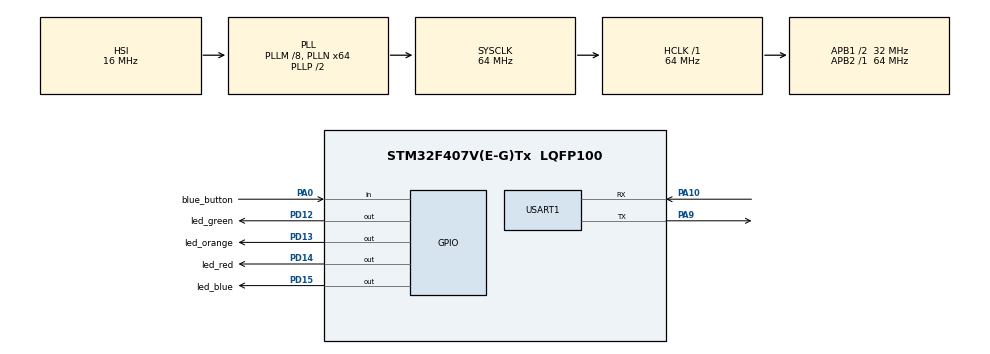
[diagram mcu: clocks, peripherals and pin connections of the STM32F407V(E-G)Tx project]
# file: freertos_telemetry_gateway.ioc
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Mcu.Family=STM32F4
Mcu.Name=STM32F407V(E-G)Tx
Mcu.Package=LQFP100
NVIC.PriorityGroup=NVIC_PRIORITYGROUP_4
NVIC.TIM1_UP_TIM10_IRQn=true\:15\:0\:false\:false\:true\:false\:true\:true
NVIC.TimeBase=TIM1_UP_TIM10_IRQn
NVIC.TimeBaseIP=TIM1
PA0-WKUP.GPIO_Label=blue_button
PA0-WKUP.Signal=GPIO_Input
PA10.Mode=Asynchronous
PA10.Signal=USART1_RX
PA13.Mode=Serial_Wire
PA13.Signal=SYS_JTMS-SWDIO
PA14.Mode=Serial_Wire
PA14.Signal=SYS_JTCK-SWCLK
PA9.Mode=Asynchronous
PA9.Signal=USART1_TX
PD12.GPIO_Label=led_green
PD12.Signal=GPIO_Output
PD13.GPIO_Label=led_orange
PD13.Signal=GPIO_Output
PD14.GPIO_Label=led_red
PD14.Signal=GPIO_Output
PD15.GPIO_Label=led_blue
PD15.Signal=GPIO_Output
ProjectManager.HeapSize=0x200
ProjectManager.StackSize=0x400
ProjectManager.TargetToolchain=STM32CubeIDE
RCC.48MHZClocksFreq_Value=32000000
RCC.AHBFreq_Value=64000000
RCC.APB1CLKDivider=RCC_HCLK_DIV2
RCC.APB1Freq_Value=32000000
RCC.APB1TimFreq_Value=64000000
RCC.APB2Freq_Value=64000000
RCC.APB2TimFreq_Value=64000000
RCC.CortexFreq_Value=64000000
RCC.HCLKFreq_Value=64000000
RCC.HSE_VALUE=25000000
RCC.HSI_VALUE=16000000
RCC.LSE_VALUE=32768
RCC.PLLM=8
RCC.PLLN=64
RCC.SYSCLKFreq_VALUE=64000000
RCC.SYSCLKSource=RCC_SYSCLKSOURCE_PLLCLK
RCC.VCOOutputFreq_Value=128000000
USART1.VirtualMode=VM_ASYNC
VP_RNG_VS_RNG.Mode=RNG_Activate
VP_SYS_VS_tim1.Mode=TIM1
board=custom

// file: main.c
/* USER CODE BEGIN Header */
/**
  ******************************************************************************
  * @file           : main.c
  * @brief          : Main program body
  ******************************************************************************
  * @attention
  *
  * Copyright (c) 2026 STMicroelectronics.
  * All rights reserved.
  *
  * This software is licensed under terms that can be found in the LICENSE file
  * in the root directory of this software component.
  * If no LICENSE file comes with this software, it is provided AS-IS.
  *
  ******************************************************************************
  */
/* USER CODE END Header */
#include "main.h"

/* USER CODE BEGIN Includes */
#include "FreeRTOS.h"
#include "task.h"
#include "queue.h"
#include "stdio.h"
#include "string.h"
/* USER CODE END Includes */

RNG_HandleTypeDef hrng;

UART_HandleTypeDef huart1;

void SystemClock_Config(void);
static void MX_GPIO_Init(void);
static void MX_USART1_UART_Init(void);
static void MX_RNG_Init(void);

static void vTaskBatterySender(void * pvParameters);
static void vTaskMotorSender(void * pvParameters);
static void vTaskErrorSender(void * pvParameter);
static void vTaskReceiver(void * pvParameters);
/* USER CODE BEGIN PFP */
typedef struct {
	double voltage;
}battery;

typedef struct {
	uint16_t rpm;
	double heat;
}motor;

typedef struct {
	char error[16]; //unknown error
}error;

QueueHandle_t xQueue1=NULL;
QueueHandle_t xQueue2=NULL;
QueueHandle_t xQueue3=NULL;
QueueSetHandle_t xQueueSet=NULL;

battery xBattery;
motor xMotor;
error xError;
/* USER CODE END PFP */

/* USER CODE BEGIN 0 */

static void vTaskBatterySender(void * pvParameters){
	BaseType_t xStatus;
	const TickType_t xTickToWait = pdMS_TO_TICKS(1000);
	battery* myBattery = (battery*) pvParameters;
	uint32_t random;
	for(;;){
		HAL_RNG_GenerateRandomNumber(&hrng, &random);
		myBattery->voltage = 11.4 + ((double)(random%121)/100);
		xStatus = xQueueSendToBack(xQueue1, &myBattery, 0);
		if(xStatus!=pdPASS){
			HAL_UART_Transmit(&huart1, (uint8_t * )"Cannot write to queue\r\n", 23, 0xFFFF);
		}else{
			HAL_GPIO_TogglePin(GPIOD, GPIO_PIN_12);
		}
		vTaskDelay(xTickToWait);
	}
}

static void vTaskMotorSender(void * pvParameters){
	BaseType_t xStatus;
	const TickType_t xTickToWait = pdMS_TO_TICKS(500);
	motor* myMotor = (motor*) pvParameters;
	uint32_t random;
	for(;;){
		HAL_RNG_GenerateRandomNumber(&hrng, &random);
		myMotor->heat = 80.0 + (double)(random%41);
		HAL_RNG_GenerateRandomNumber(&hrng, &random);
		myMotor->rpm = (random%100) + 7000;
		xStatus = xQueueSendToBack(xQueue2, &myMotor, 0);
		if(xStatus!=pdPASS){
			HAL_UART_Transmit(&huart1, (uint8_t * )"Cannot write to queue\r\n", 23, 0xFFFF);
		}else{
			HAL_GPIO_TogglePin(GPIOD, GPIO_PIN_13);
		}
		vTaskDelay(xTickToWait);
	}
}

static void vTaskErrorSender(void * pvParameter){
	BaseType_t xStatus;
	const TickType_t xTickToWait = pdMS_TO_TICKS(100);
	error* myError = (error * ) pvParameter;
	strcpy(myError->error, "Unknown Error!");
	vTaskDelay(xTickToWait);
	for(;;){
		vTaskDelay(xTickToWait);
		if(HAL_GPIO_ReadPin(GPIOA, GPIO_PIN_0)==GPIO_PIN_SET){
			xStatus = xQueueSendToBack(xQueue3, &myError, 0);
			if(xStatus!=pdPASS){
				HAL_UART_Transmit(&huart1, (uint8_t * )"Cannot write error to queue\r\n", 29, 0xFFFF);
			}else{
				HAL_GPIO_WritePin(GPIOD, GPIO_PIN_14, GPIO_PIN_SET);
			}
		}else{
			HAL_GPIO_WritePin(GPIOD, GPIO_PIN_14, GPIO_PIN_RESET);
		}
	}
}

static void vTaskReceiver(void * pvParameters){
	QueueHandle_t xQueueThatContainsData;
	BaseType_t xStatus;
	char buffer[100];
	for(;;){
		xQueueThatContainsData = (QueueHandle_t) xQueueSelectFromSet(xQueueSet, portMAX_DELAY);
		if(xQueueThatContainsData == xQueue1){
			battery *dataBattery;
			xStatus = xQueueReceive(xQueueThatContainsData, &dataBattery, 0);
			if(xStatus==pdPASS){
				uint16_t msg_len = sprintf(buffer, "Battery's voltage: %.2f \t\n", dataBattery->voltage);
				HAL_UART_Transmit(&huart1, (uint8_t * )buffer, msg_len, 0xFFFF);
				HAL_GPIO_TogglePin(GPIOD, GPIO_PIN_15);
			}else{
				HAL_UART_Transmit(&huart1, (uint8_t * )"Battery's data cannot receive!\r\n", 32, 0xFFFF);
			}
		}else if(xQueueThatContainsData == xQueue2){
			motor *dataMotor;
			xStatus = xQueueReceive(xQueueThatContainsData, &dataMotor, 0);
			if(xStatus==pdPASS){
				uint16_t msg_len = sprintf(buffer, "Motor's temperature: %.2f \r\nMotor's RPM: %d \t\n", dataMotor->heat, dataMotor->rpm);
				HAL_UART_Transmit(&huart1, (uint8_t * )buffer, msg_len, 0xFFFF);
				HAL_GPIO_TogglePin(GPIOD, GPIO_PIN_15);
			}else{
				HAL_UART_Transmit(&huart1, (uint8_t * )"Motor's data cannot receive!\r\n", 30, 0xFFFF);
			}
		}else{
			error *dataError;
			xStatus = xQueueReceive(xQueueThatContainsData, &dataError, 0);
			if(xStatus==pdPASS){
				uint16_t msg_len = sprintf(buffer, "Something went wrong: %s \t\n", dataError->error);
				HAL_UART_Transmit(&huart1, (uint8_t * )buffer, msg_len, 0xFFFF);
				HAL_GPIO_TogglePin(GPIOD, GPIO_PIN_15);
			}else{
				HAL_UART_Transmit(&huart1, (uint8_t * )"There's an error but cannot receive error message!\r\n", 52, 0xFFFF);
			}
		}
	}
}

/* USER CODE END 0 */

int main(void)
{

  /* MCU Configuration--------------------------------------------------------*/

  /* Reset of all peripherals, Initializes the Flash interface and the Systick. */
  HAL_Init();

  /* Configure the system clock */
  SystemClock_Config();

  /* Initialize all configured peripherals */
  MX_GPIO_Init();
  MX_USART1_UART_Init();
  MX_RNG_Init();
  /* USER CODE BEGIN 2 */
  xQueue1 = xQueueCreate(5, sizeof(battery*));
  xQueue2 = xQueueCreate(5, sizeof(motor*));
  xQueue3 = xQueueCreate(1, sizeof(error*));

  xQueueSet = xQueueCreateSet(11);

  xQueueAddToSet(xQueue1, xQueueSet);
  xQueueAddToSet(xQueue2, xQueueSet);
  xQueueAddToSet(xQueue3, xQueueSet);

  if(xQueue1!=NULL && xQueue2!=NULL && xQueue3!=NULL && xQueueSet!=NULL){
	  xTaskCreate(vTaskBatterySender,
			  "batterySender",
			  512,
			  (void * )&xBattery,
			  1,
			  NULL);
	  xTaskCreate(vTaskMotorSender,
			  "motorSender",
			  512,
			  (void * )&xMotor,
			  1,
			  NULL);
	  xTaskCreate(vTaskErrorSender,
			  "errorSender",
			  512,
			  (void * )&xError,
			  3,
			  NULL);
	  xTaskCreate(vTaskReceiver,
			  "receiver",
			  512,
			  NULL,
			  2,
			  NULL);
	  vTaskStartScheduler();
  }else{
	  HAL_UART_Transmit(&huart1, (uint8_t * )"Cannot create queue\r\n", 21, 0xFFFF);
  }
  /* USER CODE END 2 */

  /* Infinite loop */
  while (1)
  {

  }
}

void SystemClock_Config(void)
{
  RCC_OscInitTypeDef RCC_OscInitStruct = {0};
  RCC_ClkInitTypeDef RCC_ClkInitStruct = {0};

  /** Configure the main internal regulator output voltage
  */
  __HAL_RCC_PWR_CLK_ENABLE();
  __HAL_PWR_VOLTAGESCALING_CONFIG(PWR_REGULATOR_VOLTAGE_SCALE1);

  /** Initializes the RCC Oscillators according to the specified parameters
  * in the RCC_OscInitTypeDef structure.
  */
  RCC_OscInitStruct.OscillatorType = RCC_OSCILLATORTYPE_HSI;
  RCC_OscInitStruct.HSIState = RCC_HSI_ON;
  RCC_OscInitStruct.HSICalibrationValue = RCC_HSICALIBRATION_DEFAULT;
  RCC_OscInitStruct.PLL.PLLState = RCC_PLL_ON;
  RCC_OscInitStruct.PLL.PLLSource = RCC_PLLSOURCE_HSI;
  RCC_OscInitStruct.PLL.PLLM = 8;
  RCC_OscInitStruct.PLL.PLLN = 64;
  RCC_OscInitStruct.PLL.PLLP = RCC_PLLP_DIV2;
  RCC_OscInitStruct.PLL.PLLQ = 4;
  if (HAL_RCC_OscConfig(&RCC_OscInitStruct) != HAL_OK)
  {
    Error_Handler();
  }

  /** Initializes the CPU, AHB and APB buses clocks
  */
  RCC_ClkInitStruct.ClockType = RCC_CLOCKTYPE_HCLK|RCC_CLOCKTYPE_SYSCLK
                              |RCC_CLOCKTYPE_PCLK1|RCC_CLOCKTYPE_PCLK2;
  RCC_ClkInitStruct.SYSCLKSource = RCC_SYSCLKSOURCE_PLLCLK;
  RCC_ClkInitStruct.AHBCLKDivider = RCC_SYSCLK_DIV1;
  RCC_ClkInitStruct.APB1CLKDivider = RCC_HCLK_DIV2;
  RCC_ClkInitStruct.APB2CLKDivider = RCC_HCLK_DIV1;

  if (HAL_RCC_ClockConfig(&RCC_ClkInitStruct, FLASH_LATENCY_2) != HAL_OK)
  {
    Error_Handler();
  }
}

static void MX_RNG_Init(void)
{

  hrng.Instance = RNG;
  if (HAL_RNG_Init(&hrng) != HAL_OK)
  {
    Error_Handler();
  }

}

static void MX_USART1_UART_Init(void)
{

  huart1.Instance = USART1;
  huart1.Init.BaudRate = 9600;
  huart1.Init.WordLength = UART_WORDLENGTH_8B;
  huart1.Init.StopBits = UART_STOPBITS_1;
  huart1.Init.Parity = UART_PARITY_NONE;
  huart1.Init.Mode = UART_MODE_TX_RX;
  huart1.Init.HwFlowCtl = UART_HWCONTROL_NONE;
  huart1.Init.OverSampling = UART_OVERSAMPLING_16;
  if (HAL_UART_Init(&huart1) != HAL_OK)
  {
    Error_Handler();
  }

}

static void MX_GPIO_Init(void)
{
  GPIO_InitTypeDef GPIO_InitStruct = {0};

  /* GPIO Ports Clock Enable */
  __HAL_RCC_GPIOA_CLK_ENABLE();
  __HAL_RCC_GPIOD_CLK_ENABLE();

  /*Configure GPIO pin Output Level */
  HAL_GPIO_WritePin(GPIOD, led_green_Pin|led_orange_Pin|led_red_Pin|led_blue_Pin, GPIO_PIN_RESET);

  /*Configure GPIO pin : blue_button_Pin */
  GPIO_InitStruct.Pin = blue_button_Pin;
  GPIO_InitStruct.Mode = GPIO_MODE_INPUT;
  GPIO_InitStruct.Pull = GPIO_NOPULL;
  HAL_GPIO_Init(blue_button_GPIO_Port, &GPIO_InitStruct);

  /*Configure GPIO pins : led_green_Pin led_orange_Pin led_red_Pin led_blue_Pin */
  GPIO_InitStruct.Pin = led_green_Pin|led_orange_Pin|led_red_Pin|led_blue_Pin;
  GPIO_InitStruct.Mode = GPIO_MODE_OUTPUT_PP;
  GPIO_InitStruct.Pull = GPIO_NOPULL;
  GPIO_InitStruct.Speed = GPIO_SPEED_FREQ_LOW;
  HAL_GPIO_Init(GPIOD, &GPIO_InitStruct);

}

void HAL_TIM_PeriodElapsedCallback(TIM_HandleTypeDef *htim)
{
  if (htim->Instance == TIM1)
  {
    HAL_IncTick();
  }
}

void Error_Handler(void)
{
  __disable_irq();
  while (1)
  {
  }
}
